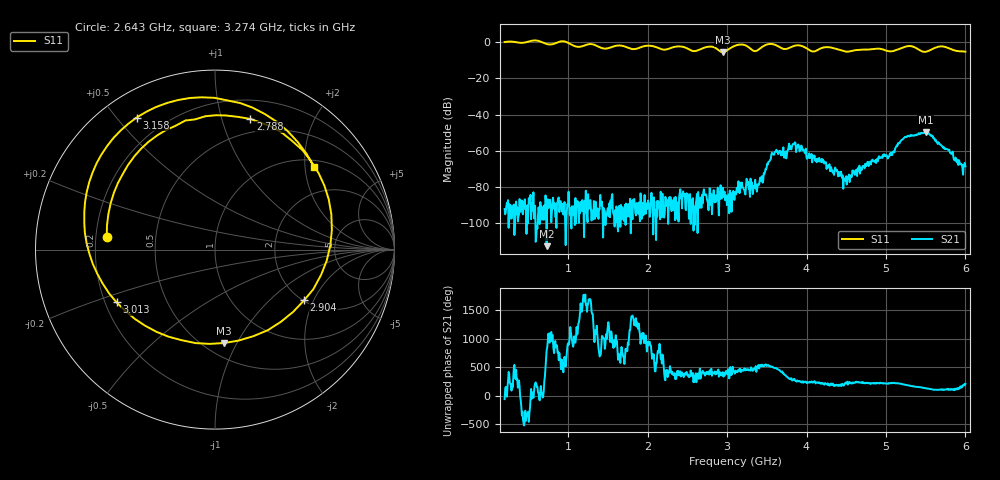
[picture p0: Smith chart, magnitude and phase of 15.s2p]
! NanoVNA-App by OneOfEleven et al v1.1.209 (+OD15)
! Date: 2024-07-30 15:18:13
! Start: 200MHz Stop: 6GHz Points: 801
! S-Parameter data: F S11 S21 S12 S22
# Hz S RI R 50
!  Frequency  S11_Real  S11_Imag  S21_Real  S21_Imag  S12_Real  S12_Imag  S22_Real  S22_Imag
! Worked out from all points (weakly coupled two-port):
!   801 points, 200 MHz to 6 GHz, reference 50 ohm
!   highest |S21| = -49.75 dB at 5.5 GHz (marker M1); lowest = -112.5 dB at 729.2 MHz (marker M2)
!   lowest |S11| = -5.6 dB at 2.948 GHz (marker M3), VSWR 3.19, Z = 31 - j44.5 ohm
!   |S11| at or under -10 dB: nowhere
!   S12 and S22 are empty: the file has one direction only
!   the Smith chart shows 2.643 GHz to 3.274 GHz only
!   S11 on the Smith chart (normalised r, x): 2.643 GHz: 0.25, +0.05; 2.788 GHz: 0.37, +1.24; 2.904 GHz: 2.02, -1.70; 3.013 GHz: 0.25, -0.24; 3.158 GHz: 0.10, +0.56; 3.274 GHz: 1.18, +2.23
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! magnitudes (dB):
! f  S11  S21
! 200 MHz  0.0  -92.0
! 729.2 MHz  -1.0  -112.5
! 1.171 GHz  -2.4  -93.0
! 2.136 GHz  -3.3  -90.8
! 2.643 GHz  -4.3  -88.8
! 2.788 GHz  -2.4  -82.8
! 2.904 GHz  -4.9  -82.9
! 2.948 GHz  -5.6  -80.3
! 3.013 GHz  -4.1  -87.7
! 3.1 GHz  -2.0  -82.8
! 3.158 GHz  -1.4  -83.3
! 3.274 GHz  -2.9  -80.8
! 3.397 GHz  -4.1  -78.9
! 3.593 GHz  -1.3  -62.1
! 3.745 GHz  -3.7  -64.1
! 3.832 GHz  -2.3  -56.1
! 4.072 GHz  -5.1  -66.3
! 4.492 GHz  -5.2  -76.6
! 5.036 GHz  -5.0  -63.2
! 5.246 GHz  -2.5  -52.2
! 5.5 GHz  -5.3  -49.7
! 6 GHz  -5.2  -68.5
